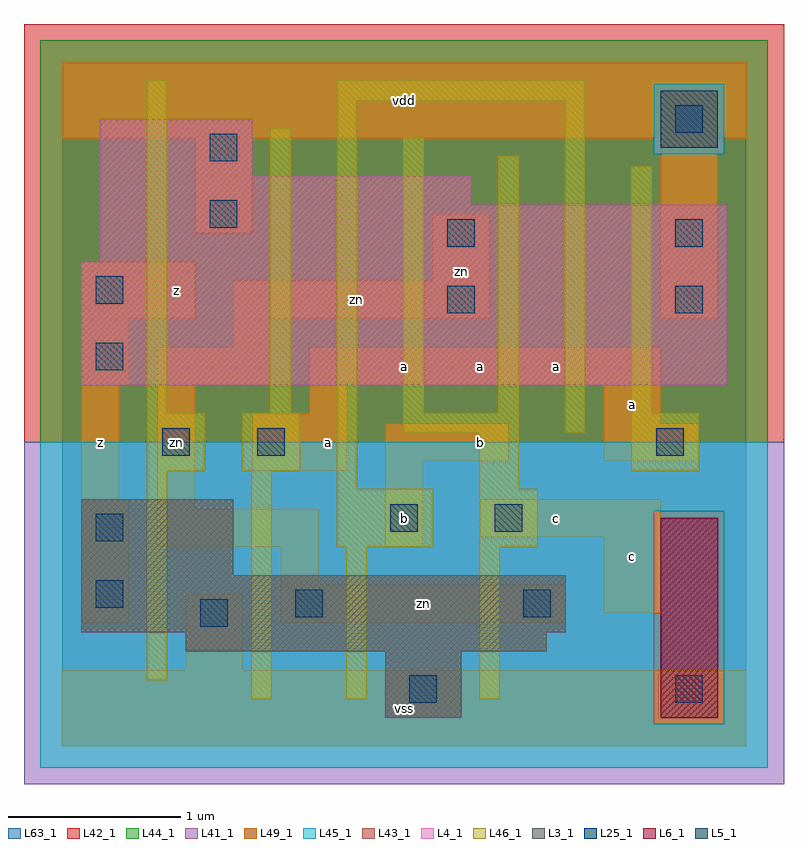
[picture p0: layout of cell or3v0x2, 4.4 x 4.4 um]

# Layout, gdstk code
import gdstk
lib = gdstk.Library(unit=1e-6, precision=1e-09)
def R(c, l, rs):  # rectangles x0, y0, x1, y1
    for r in rs: c.add(gdstk.rectangle(r[:2], r[2:], *l))
L3_1 = (3, 1)
L4_1 = (4, 1)
L5_1 = (5, 1)
L6_1 = (6, 1)
L25_1 = (25, 1)
L41_1 = (41, 1)
L42_1 = (42, 1)
L43_1 = (43, 1)
L44_1 = (44, 1)
L45_1 = (45, 1)
L46_1 = (46, 1)
L49_1 = (49, 1)
L63_1 = (63, 1)

or3v0x2 = lib.new_cell('or3v0x2')
R(or3v0x2, L3_1, [(1.87,0.165,2.31,0.55), (0.715,0.55,2.805,0.66), (0.11,0.66,2.915,0.99), (0.11,0.99,0.99,1.43)])
R(or3v0x2, L4_1, [(0.11,2.09,3.85,2.805), (0.22,2.805,3.85,3.135), (0.22,3.135,2.365,3.3), (0.22,3.3,1.1,3.63)])
R(or3v0x2, L5_1, [(3.465,3.465,3.795,3.795)])
R(or3v0x2, L6_1, [(3.465,0.165,3.795,1.32)])
R(or3v0x2, L25_1, [(2.01,0.25,2.17,0.41), (3.55,0.25,3.71,0.41), (0.8,0.69,0.96,0.85), (1.35,0.745,1.51,0.905), (2.67,0.745,2.83,0.905), (0.195,0.8,0.355,0.96), (0.195,1.185,0.355,1.345), (1.9,1.24,2.06,1.4), (2.505,1.24,2.665,1.4), (0.58,1.68,0.74,1.84), (1.13,1.68,1.29,1.84), (3.44,1.68,3.6,1.84), (0.195,2.175,0.355,2.335), (2.23,2.505,2.39,2.665), (3.55,2.505,3.71,2.665), (0.195,2.56,0.355,2.72), (2.23,2.89,2.39,3.05), (3.55,2.89,3.71,3.05), (0.855,3,1.015,3.16), (0.855,3.385,1.015,3.545), (3.55,3.55,3.71,3.71)])
R(or3v0x2, L41_1, [(-0.22,-0.22,4.18,1.76)])
R(or3v0x2, L42_1, [(-0.22,1.76,4.18,4.18)])
R(or3v0x2, L43_1, [(1.87,0.165,2.31,0.55), (3.465,0.165,3.795,1.32), (0.715,0.55,2.805,0.66), (0.11,0.66,2.915,0.99), (0.11,0.99,0.99,1.43), (0.11,2.09,3.85,2.805), (0.22,2.805,3.85,3.135), (0.22,3.135,2.365,3.3), (0.22,3.3,1.1,3.63), (3.465,3.465,3.795,3.795)])
R(or3v0x2, L44_1, [(3.425,0.125,3.835,1.36), (-0.125,1.76,4.085,3.425), (-0.125,3.425,3.425,3.835), (3.835,3.425,4.085,3.835), (-0.125,3.835,4.085,4.085)])
R(or3v0x2, L45_1, [(-0.125,-0.125,4.085,0.125), (-0.125,0.125,3.425,1.36), (3.835,0.125,4.085,1.36), (-0.125,1.36,4.085,1.76), (3.425,3.425,3.835,3.835)])
R(or3v0x2, L46_1, [(1.095,0.27,1.215,1.59), (1.645,0.27,1.765,1.15), (2.415,0.27,2.535,1.15), (0.49,0.38,0.61,1.59), (1.59,1.15,2.15,1.49), (2.415,1.15,2.755,1.49), (1.59,1.49,1.71,3.735), (2.415,1.49,2.645,1.81), (0.49,1.59,0.83,1.93), (1.04,1.59,1.38,1.93), (3.295,1.59,3.69,1.93), (1.975,1.81,2.645,1.93), (2.91,1.81,3.03,3.735), (0.49,1.93,0.61,3.855), (1.205,1.93,1.325,3.58), (1.975,1.93,2.095,3.525), (2.525,1.93,2.645,3.415), (3.295,1.93,3.415,3.36), (1.59,3.735,3.03,3.855)])
R(or3v0x2, L49_1, [(0,0,3.96,0.44), (0.715,0.44,1.045,0.88), (0.11,0.715,0.385,1.43), (1.265,0.715,2.915,0.935), (3.135,0.77,3.465,1.21), (1.265,0.935,1.485,1.155), (0.55,1.155,1.485,1.375), (1.87,1.155,2.09,1.65), (2.42,1.21,3.465,1.43), (0.55,1.375,0.77,2.09), (0.11,1.43,0.33,2.09), (1.1,1.595,1.65,1.925), (1.87,1.65,2.585,1.87), (3.135,1.65,3.685,1.87), (3.135,1.87,3.465,2.09), (1.43,1.925,1.65,2.09), (0.11,2.09,0.385,2.475), (0.55,2.09,1.21,2.31), (1.43,2.09,3.465,2.31), (0.99,2.31,1.21,2.475), (0.11,2.475,0.77,2.805), (0.99,2.475,2.475,2.695), (3.465,2.475,3.795,3.52), (2.145,2.695,2.475,3.08), (0.77,2.97,1.1,3.52), (0,3.52,3.96,3.96)])
R(or3v0x2, L63_1, [(0,0,3.96,3.96)])
or3v0x2.add(gdstk.Label('zn', (0.66,1.76), layer=49, texttype=1))
or3v0x2.add(gdstk.Label('z', (0.22,1.76), layer=49, texttype=1))
or3v0x2.add(gdstk.Label('zn', (0.66,1.705), layer=49, texttype=1))
or3v0x2.add(gdstk.Label('z', (0.66,2.64), layer=49, texttype=1))
or3v0x2.add(gdstk.Label('a', (1.54,1.76), layer=49, texttype=1))
or3v0x2.add(gdstk.Label('vss', (1.98,0.22), layer=49, texttype=1))
or3v0x2.add(gdstk.Label('zn', (2.09,0.825), layer=49, texttype=1))
or3v0x2.add(gdstk.Label('b', (1.98,1.32), layer=49, texttype=1))
or3v0x2.add(gdstk.Label('b', (2.42,1.76), layer=49, texttype=1))
or3v0x2.add(gdstk.Label('c', (2.86,1.32), layer=49, texttype=1))
or3v0x2.add(gdstk.Label('a', (2.42,2.2), layer=49, texttype=1))
or3v0x2.add(gdstk.Label('a', (2.86,2.2), layer=49, texttype=1))
or3v0x2.add(gdstk.Label('a', (1.98,2.2), layer=49, texttype=1))
or3v0x2.add(gdstk.Label('zn', (1.705,2.585), layer=49, texttype=1))
or3v0x2.add(gdstk.Label('zn', (2.31,2.75), layer=49, texttype=1))
or3v0x2.add(gdstk.Label('vdd', (1.98,3.74), layer=49, texttype=1))
or3v0x2.add(gdstk.Label('c', (3.3,1.1), layer=49, texttype=1))
or3v0x2.add(gdstk.Label('a', (3.3,1.98), layer=49, texttype=1))

lib.write_gds('or3v0x2.gds')
